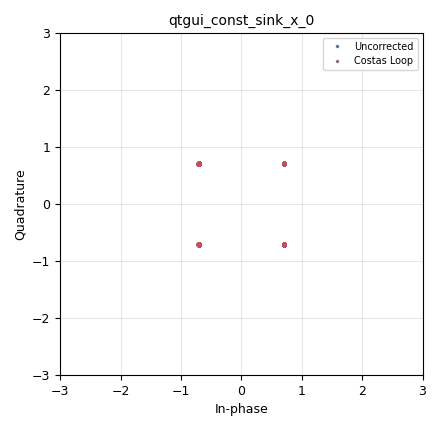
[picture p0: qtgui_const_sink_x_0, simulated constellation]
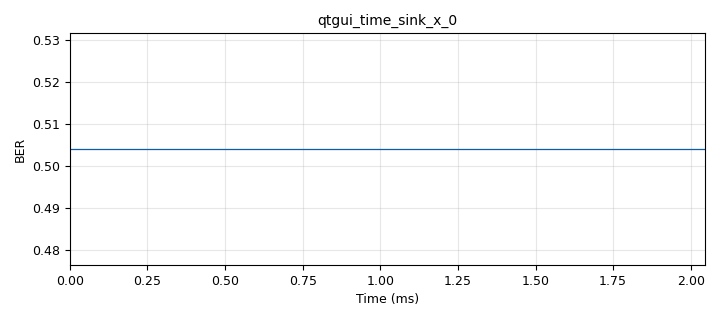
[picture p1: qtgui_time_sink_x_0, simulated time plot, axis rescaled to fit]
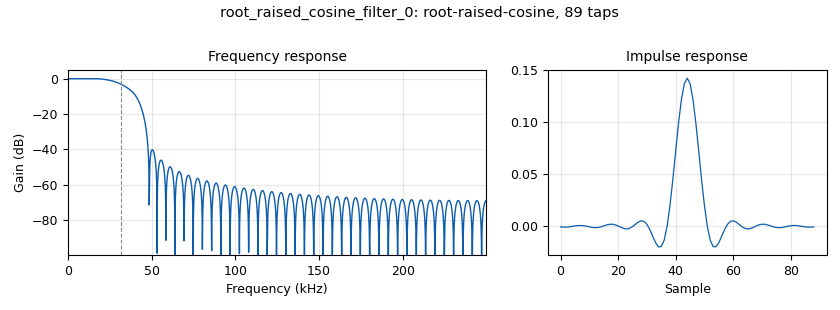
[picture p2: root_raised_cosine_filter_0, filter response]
options:
  parameters:
    author: tom
    generate_options: qt_gui
    id: backup
    output_language: python
    title: Not titled yet
  states: {}

blocks:
- name: QPSK_constellation
  id: variable_constellation
  parameters:
    const_points: '[-1-1j, -1+1j, 1+1j, 1-1j]'
    dims: '1'
    normalization: digital.constellation.AMPLITUDE_NORMALIZATION
    precision: '8'
    rot_sym: '4'
    sym_map: '[0, 1, 3, 2]'
    type: calcdist
  states: {}
- name: Rx_gain
  id: variable_qtgui_range
  parameters:
    start: '0'
    step: '1'
    stop: '100'
    value: '80'
  states: {}
- name: Tx_gain
  id: variable_qtgui_range
  parameters:
    start: '0'
    step: '1'
    stop: '100'
    value: '80'
  states: {}
- name: alpha
  id: variable
  parameters:
    value: '0.5'
  states: {}
- name: center_freq
  id: variable
  parameters:
    value: 700e6
  states: {}
- name: fc
  id: variable
  parameters:
    value: '200000'
  states: {}
- name: samp_rate
  id: variable
  parameters:
    comment: was 800k
    value: 500e3
  states: {}
- name: sps
  id: variable
  parameters:
    value: '8'
  states: {}
- name: analog_random_uniform_source_x_0
  id: analog_random_uniform_source_x
  parameters:
    comment: |-
      instead of this, have a set pilor signal?
      Also: Pluto -> bladeRF and bladeRF->Pluto
    maximum: '256'
    minimum: '0'
    seed: '0'
    type: byte
  states: {state: disabled}
- name: blocks_file_sink_0
  id: blocks_file_sink
  parameters:
    file: ber_src
    type: byte
  states: {state: disabled}
- name: blocks_throttle2_0_0_0_0
  id: blocks_throttle2
  parameters:
    samples_per_second: samp_rate
    type: byte
  states: {}
- name: blocks_unpack_k_bits_bb_0
  id: blocks_unpack_k_bits_bb
  parameters:
    k: '2'
  states: {}
- name: blocks_unpack_k_bits_bb_1
  id: blocks_unpack_k_bits_bb
  parameters:
    k: '8'
  states: {}
- name: blocks_unpack_k_bits_bb_2
  id: blocks_unpack_k_bits_bb
  parameters:
    k: '8'
  states: {state: disabled}
- name: digital_constellation_decoder_cb_0
  id: digital_constellation_decoder_cb
  parameters:
    constellation: QPSK_constellation
  states: {}
- name: digital_constellation_modulator_0
  id: digital_constellation_modulator
  parameters:
    constellation: QPSK_constellation
    differential: 'True'
    excess_bw: alpha
    samples_per_symbol: sps
  states: {}
- name: digital_costas_loop_cc_0
  id: digital_costas_loop_cc
  parameters:
    order: '4'
    w: 2*math.pi/100
  states: {}
- name: digital_diff_decoder_bb_0
  id: digital_diff_decoder_bb
  parameters:
    coding: digital.DIFF_DIFFERENTIAL
    modulus: '4'
  states: {}
- name: digital_map_bb_0
  id: digital_map_bb
  parameters:
    map: '[0, 1, 3, 2]'
  states: {}
- name: digital_symbol_sync_xx_0
  id: digital_symbol_sync_xx
  parameters:
    constellation: digital.constellation_qpsk().base()
    damping: '1.0'
    loop_bw: '0.045'
    max_dev: '1.5'
    nfilters: '32'
    osps: '1'
    resamp_type: digital.IR_MMSE_8TAP
    sps: sps
    ted_gain: '1'
    ted_type: digital.TED_SIGNAL_TIMES_SLOPE_ML
    type: cc
  states: {}
- name: epy_block_0
  id: epy_block
  parameters:
    _source_code: |-
      import numpy as np
      from gnuradio import gr

      class blk(gr.sync_block):
          def __init__(self, buffer_size=20000, max_offset=500, realign_interval=50000, periodic_realign=True):
              gr.sync_block.__init__(
                  self,
                  name='BER Calculator',
                  in_sig=[np.uint8, np.uint8],
                  out_sig=[np.float32]
              )
              self.buffer_size = buffer_size
              self.max_offset = max_offset
              self.realign_interval = realign_interval
              self.periodic_realign = periodic_realign
              self.tx_buffer = np.array([], dtype=np.uint8)
              self.rx_buffer = np.array([], dtype=np.uint8)
              self.synced = False
              self.offset = 0
              self.total_bits = 0
              self.total_errors = 0
              self.print_counter = 0
              self.realign_counter = 0
              self.last_ber = 0.0

          def find_offset(self):
              correlation = np.correlate(
                  self.rx_buffer.astype(float),
                  self.tx_buffer.astype(float),
                  mode='full'
              )
              center = len(self.tx_buffer) - 1
              search = correlation[center - self.max_offset:center + self.max_offset]
              return np.argmax(search) - self.max_offset

          def align_buffers(self, offset):
              if offset >= 0:
                  self.rx_buffer = self.rx_buffer[offset:]
              else:
                  self.tx_buffer = self.tx_buffer[-offset:]
              print(f"[BER Block] Aligned. Offset: {offset}")

          def work(self, input_items, output_items):
              tx_in = input_items[0]
              rx_in = input_items[1]
              n = len(tx_in)

              self.tx_buffer = np.append(self.tx_buffer, tx_in)
              self.rx_buffer = np.append(self.rx_buffer, rx_in)

              if not self.synced:
                  if len(self.tx_buffer) >= self.buffer_size:
                      offset = self.find_offset()
                      self.align_buffers(offset)
                      self.synced = True
                      print(f"[BER Block] Initial lock. Offset: {offset}")

              else:
                  min_len = min(len(self.tx_buffer), len(self.rx_buffer))
                  if min_len > 0:
                      errors = np.sum(self.tx_buffer[:min_len] != self.rx_buffer[:min_len])
                      self.total_errors += errors
                      self.total_bits += min_len
                      self.realign_counter += min_len

                      self.tx_buffer = self.tx_buffer[min_len:]
                      self.rx_buffer = self.rx_buffer[min_len:]

                      self.print_counter += min_len
                      if self.print_counter >= 1000:
                          self.last_ber = self.total_errors / self.total_bits
                          print(f"[BER Block] BER: {self.last_ber:.6f}")
                          self.print_counter = 0
                          self.total_bits = 0
                          self.total_errors = 0

                      # Periodically re-align only if enabled
                      if self.periodic_realign and self.realign_counter >= self.realign_interval:
                          self.realign_counter = 0
                          self.synced = False
                          self.tx_buffer = np.array([], dtype=np.uint8)
                          self.rx_buffer = np.array([], dtype=np.uint8)
                          print(f"[BER Block] Re-aligning...")

              output_items[0][:n] = self.last_ber
              return n
    buffer_size: '20000'
    max_offset: '50000'
    periodic_realign: 'False'
    realign_interval: '50000'
  states: {}
- name: epy_block_1
  id: epy_block
  parameters:
    _source_code: |
      import numpy as np
      from gnuradio import gr


      class blk(gr.sync_block):
          """
          Continuous random byte source.

          Output:
            uint8 stream, values 0 to 255 inclusive.
          """

          def __init__(self, seed=0):
              gr.sync_block.__init__(
                  self,
                  name="Continuous Random Byte Source",
                  in_sig=None,
                  out_sig=[np.uint8],
              )

              # seed=0 means random/non-deterministic.
              # Any nonzero seed gives repeatable output across runs.
              if int(seed) == 0:
                  self.rng = np.random.default_rng()
              else:
                  self.rng = np.random.default_rng(int(seed))

          def work(self, input_items, output_items):
              out = output_items[0]
              n = len(out)

              out[:] = self.rng.integers(
                  low=0,
                  high=256,       # exclusive upper bound
                  size=n,
                  dtype=np.uint8,
              )

              return n
    seed: '0'
  states: {}
- name: import_0
  id: import
  parameters:
    imports: import math
  states: {}
- name: import_0_0
  id: import
  parameters:
    imports: import numpy
  states: {}
- name: low_pass_filter_0
  id: low_pass_filter
  parameters:
    comment: |-
      sps = 1 samp_rate = bandwidth
      samp_rate / sps ~= bandwidth


      Bandwith has to do with "squareness" of wave and samp_rate/sps

      shaping is controlled by alpha

      min(BW) = sps

      BW = symbol_rate*(1+alpha)
    cutoff_freq: samp_rate/sps/2*(1+alpha)*2.0
    decim: '1'
    gain: '1'
    samp_rate: samp_rate
    type: fir_filter_ccf
    width: samp_rate/sps/2*(1+alpha)*0.5
    win: window.WIN_HAMMING
  states: {state: bypassed}
- name: qtgui_const_sink_x_0
  id: qtgui_const_sink_x
  parameters:
    label1: Uncorrected
    label2: Costas Loop
    nconnections: '2'
    size: '1024'
    type: complex
    xmax: '3'
    xmin: '-3'
    ymax: '3'
    ymin: '-3'
  states: {}
- name: qtgui_sink_x_0
  id: qtgui_sink_x
  parameters:
    bw: samp_rate
    fc: '0'
    fftsize: '1024'
    name: '"transmitted signal"'
    type: complex
  states: {state: disabled}
- name: qtgui_time_sink_x_0
  id: qtgui_time_sink_x
  parameters:
    size: '1024'
    srate: samp_rate
    type: float
    ylabel: BER
    ymin: '-0.001'
  states: {}
- name: root_raised_cosine_filter_0
  id: root_raised_cosine_filter
  parameters:
    alpha: alpha
    decim: '1'
    gain: '1'
    ntaps: 11*sps
    samp_rate: samp_rate
    sym_rate: samp_rate / sps
    type: fir_filter_ccf
  states: {}
- name: soapy_bladerf_sink_0
  id: soapy_bladerf_sink
  parameters:
    center_freq: center_freq
    gain: Tx_gain
    samp_rate: samp_rate
    type: fc32
  states: {state: disabled}
- name: soapy_bladerf_source_0
  id: soapy_bladerf_source
  parameters:
    center_freq: center_freq
    gain: Rx_gain
    samp_rate: samp_rate
    type: fc32
  states: {state: disabled}
- name: soapy_plutosdr_sink_0
  id: soapy_plutosdr_sink
  parameters:
    center_freq: center_freq
    gain: Tx_gain
    samp_rate: samp_rate
    type: fc32
  states: {state: disabled}
- name: soapy_plutosdr_source_0_0
  id: soapy_plutosdr_source
  parameters:
    center_freq: center_freq
    gain: Rx_gain
    samp_rate: samp_rate
    type: fc32
  states: {state: disabled}
- name: virtual_sink_0
  id: virtual_sink
  parameters:
    stream_id: rx_signal_filtered
  states: {}
- name: virtual_sink_0_0
  id: virtual_sink
  parameters:
    stream_id: input_bits
  states: {}
- name: virtual_sink_1
  id: virtual_sink
  parameters:
    stream_id: decoded_signal
  states: {}
- name: virtual_sink_2
  id: virtual_sink
  parameters:
    stream_id: test
  states: {}
- name: virtual_source_0
  id: virtual_source
  parameters:
    stream_id: rx_signal_filtered
  states: {}
- name: virtual_source_1
  id: virtual_source
  parameters:
    stream_id: decoded_signal
  states: {}
- name: virtual_source_2
  id: virtual_source
  parameters:
    stream_id: input_bits
  states: {}
- name: virtual_source_3
  id: virtual_source
  parameters:
    stream_id: test
  states: {}

connections:
- [analog_random_uniform_source_x_0, '0', blocks_throttle2_0_0_0_0, '0']
- [analog_random_uniform_source_x_0, '0', virtual_sink_0_0, '0']
- [blocks_throttle2_0_0_0_0, '0', blocks_unpack_k_bits_bb_2, '0']
- [blocks_throttle2_0_0_0_0, '0', digital_constellation_modulator_0, '0']
- [blocks_unpack_k_bits_bb_0, '0', epy_block_0, '0']
- [blocks_unpack_k_bits_bb_1, '0', epy_block_0, '1']
- [blocks_unpack_k_bits_bb_2, '0', blocks_file_sink_0, '0']
- [digital_constellation_decoder_cb_0, '0', virtual_sink_1, '0']
- [digital_constellation_modulator_0, '0', qtgui_sink_x_0, '0']
- [digital_constellation_modulator_0, '0', soapy_bladerf_sink_0, '0']
- [digital_constellation_modulator_0, '0', soapy_plutosdr_sink_0, '0']
- [digital_constellation_modulator_0, '0', virtual_sink_2, '0']
- [digital_costas_loop_cc_0, '0', digital_constellation_decoder_cb_0, '0']
- [digital_costas_loop_cc_0, '0', qtgui_const_sink_x_0, '1']
- [digital_diff_decoder_bb_0, '0', digital_map_bb_0, '0']
- [digital_map_bb_0, '0', blocks_unpack_k_bits_bb_0, '0']
- [digital_symbol_sync_xx_0, '0', digital_costas_loop_cc_0, '0']
- [digital_symbol_sync_xx_0, '0', qtgui_const_sink_x_0, '0']
- [epy_block_0, '0', qtgui_time_sink_x_0, '0']
- [epy_block_1, '0', blocks_throttle2_0_0_0_0, '0']
- [epy_block_1, '0', virtual_sink_0_0, '0']
- [low_pass_filter_0, '0', root_raised_cosine_filter_0, '0']
- [root_raised_cosine_filter_0, '0', virtual_sink_0, '0']
- [soapy_bladerf_source_0, '0', low_pass_filter_0, '0']
- [soapy_plutosdr_source_0_0, '0', low_pass_filter_0, '0']
- [virtual_source_0, '0', digital_symbol_sync_xx_0, '0']
- [virtual_source_1, '0', digital_diff_decoder_bb_0, '0']
- [virtual_source_2, '0', blocks_unpack_k_bits_bb_1, '0']
- [virtual_source_3, '0', low_pass_filter_0, '0']

metadata:
  file_format: 1
  grc_version: 3.10.12.0
